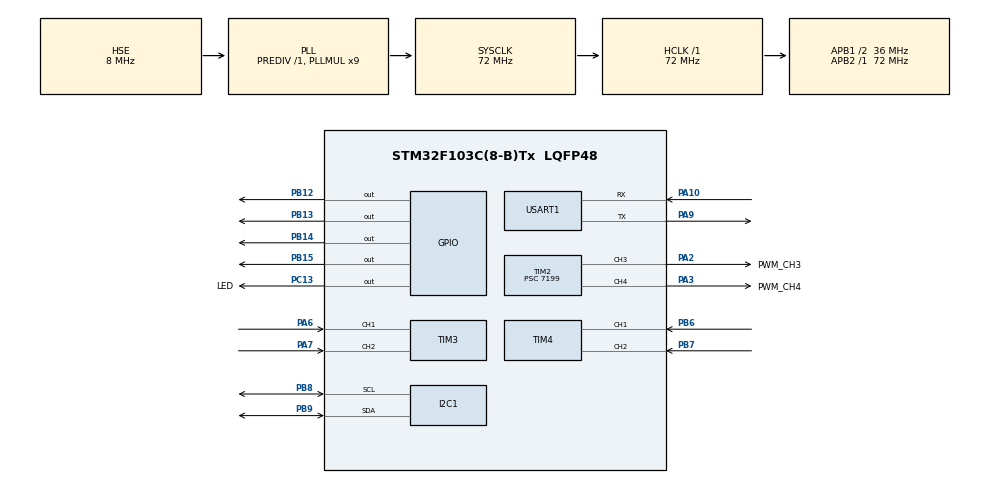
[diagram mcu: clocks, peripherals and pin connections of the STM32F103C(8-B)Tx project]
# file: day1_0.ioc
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Mcu.Family=STM32F1
Mcu.Name=STM32F103C(8-B)Tx
Mcu.Package=LQFP48
NVIC.I2C1_EV_IRQn=true\:0\:0\:false\:false\:true\:true\:true\:true
NVIC.PriorityGroup=NVIC_PRIORITYGROUP_4
NVIC.TIM2_IRQn=true\:0\:0\:false\:false\:true\:true\:true\:true
NVIC.USART1_IRQn=true\:0\:0\:false\:false\:true\:true\:true\:true
PA10.Mode=Asynchronous
PA10.Signal=USART1_RX
PA13.Mode=Serial_Wire
PA13.Signal=SYS_JTMS-SWDIO
PA14.Mode=Serial_Wire
PA14.Signal=SYS_JTCK-SWCLK
PA2.GPIO_Label=PWM_CH3
PA2.GPIO_Speed=GPIO_SPEED_FREQ_HIGH
PA2.Signal=S_TIM2_CH3
PA3.GPIO_Label=PWM_CH4
PA3.GPIO_ModeDefaultPP=GPIO_MODE_AF_PP
PA3.GPIO_Speed=GPIO_SPEED_FREQ_HIGH
PA3.Signal=S_TIM2_CH4
PA6.GPIO_PuPd=GPIO_NOPULL
PA6.Signal=S_TIM3_CH1
PA7.GPIO_PuPd=GPIO_NOPULL
PA7.Signal=S_TIM3_CH2
PA9.Mode=Asynchronous
PA9.Signal=USART1_TX
PB12.Signal=GPIO_Output
PB13.Signal=GPIO_Output
PB14.Signal=GPIO_Output
PB15.Signal=GPIO_Output
PB6.GPIO_PuPd=GPIO_NOPULL
PB6.Signal=S_TIM4_CH1
PB7.GPIO_PuPd=GPIO_NOPULL
PB7.Signal=S_TIM4_CH2
PB8.Mode=I2C
PB8.Signal=I2C1_SCL
PB9.Mode=I2C
PB9.Signal=I2C1_SDA
PC13-TAMPER-RTC.GPIO_Label=LED
PC13-TAMPER-RTC.Signal=GPIO_Output
PD0-OSC_IN.Mode=HSE-External-Oscillator
PD0-OSC_IN.Signal=RCC_OSC_IN
PD1-OSC_OUT.Mode=HSE-External-Oscillator
PD1-OSC_OUT.Signal=RCC_OSC_OUT
ProjectManager.HeapSize=0x200
ProjectManager.StackSize=0x400
ProjectManager.TargetToolchain=Makefile
RCC.AHBFreq_Value=72000000
RCC.APB1CLKDivider=RCC_HCLK_DIV2
RCC.APB1Freq_Value=36000000
RCC.APB1TimFreq_Value=72000000
RCC.APB2Freq_Value=72000000
RCC.APB2TimFreq_Value=72000000
RCC.EnbaleCSS=true
RCC.HCLKFreq_Value=72000000
RCC.PLLMUL=RCC_PLL_MUL9
RCC.PLLSourceVirtual=RCC_PLLSOURCE_HSE
RCC.SYSCLKFreq_VALUE=72000000
RCC.SYSCLKSource=RCC_SYSCLKSOURCE_PLLCLK
RCC.USBFreq_Value=72000000
SH.S_TIM2_CH3.0=TIM2_CH3,PWM Generation3 CH3
SH.S_TIM2_CH4.0=TIM2_CH4,PWM Generation4 CH4
SH.S_TIM3_CH1.0=TIM3_CH1,Encoder_Interface
SH.S_TIM3_CH2.0=TIM3_CH2,Encoder_Interface
SH.S_TIM4_CH1.0=TIM4_CH1,Encoder_Interface
SH.S_TIM4_CH2.0=TIM4_CH2,Encoder_Interface
TIM2.AutoReloadPreload=TIM_AUTORELOAD_PRELOAD_ENABLE
TIM2.Channel-PWM\ Generation3\ CH3=TIM_CHANNEL_3
TIM2.Channel-PWM\ Generation4\ CH4=TIM_CHANNEL_4
TIM2.CounterMode=TIM_COUNTERMODE_UP
TIM2.OCMode_PWM-PWM\ Generation3\ CH3=TIM_OCMODE_PWM1
TIM2.Period=4999
TIM2.Prescaler=7199
TIM2.Pulse-PWM\ Generation3\ CH3=2500
TIM2.Pulse-PWM\ Generation4\ CH4=2500
TIM2.TIM_MasterOutputTrigger=TIM_TRGO_RESET
TIM3.AutoReloadPreload=TIM_AUTORELOAD_PRELOAD_DISABLE
TIM3.EncoderMode=TIM_ENCODERMODE_TI12
TIM3.IC1Filter=6
TIM3.IC2Filter=6
TIM4.AutoReloadPreload=TIM_AUTORELOAD_PRELOAD_DISABLE
TIM4.EncoderMode=TIM_ENCODERMODE_TI12
TIM4.IC1Filter=6
TIM4.IC2Filter=6
USART1.VirtualMode=VM_ASYNC
VP_TIM2_VS_ClockSourceINT.Mode=Internal
board=custom

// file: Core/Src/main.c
/* USER CODE BEGIN Header */
/**
 ******************************************************************************
 * @file           : main.c
 * @brief          : Main program body
 ******************************************************************************
 * @attention
 *
 * Copyright (c) 2022 STMicroelectronics.
 * All rights reserved.
 *
 * This software is licensed under terms that can be found in the LICENSE file
 * in the root directory of this software component.
 * If no LICENSE file comes with this software, it is provided AS-IS.
 *
 ******************************************************************************
 */
/* USER CODE END Header */
#include "main.h"
#include "i2c.h"
#include "tim.h"
#include "usart.h"
#include "gpio.h"

/* USER CODE BEGIN Includes */
#include <string.h>
#include <stdio.h>
#include <stdlib.h>
#include "control.h"
/* USER CODE END Includes */

void SystemClock_Config(void);
/* USER CODE BEGIN PFP */

/**
  * @brief  1 forward 0 backward -1 stop
  * @param  l: left wheel
  * @param  r: right wheel
  * @retval None
  */
// void Car_Run(int l, int r)
// {
//   if (l == 1)
//   {
//     HAL_GPIO_WritePin(GPIOB, GPIO_PIN_12, GPIO_PIN_RESET);
//     HAL_GPIO_WritePin(GPIOB, GPIO_PIN_13, GPIO_PIN_SET);
//   }
//   else if (l == 0)
//   {
//     HAL_GPIO_WritePin(GPIOB, GPIO_PIN_12, GPIO_PIN_SET);
//     HAL_GPIO_WritePin(GPIOB, GPIO_PIN_13, GPIO_PIN_RESET);
//   }
//   else
//   {
//     HAL_GPIO_WritePin(GPIOB, GPIO_PIN_12, GPIO_PIN_RESET);
//     HAL_GPIO_WritePin(GPIOB, GPIO_PIN_13, GPIO_PIN_RESET);
//   }
//   if (r == 1)
//   {
//     HAL_GPIO_WritePin(GPIOB, GPIO_PIN_14, GPIO_PIN_SET);
//     HAL_GPIO_WritePin(GPIOB, GPIO_PIN_15, GPIO_PIN_RESET);
//   }
//   else if (r == 0)
//   {
//     HAL_GPIO_WritePin(GPIOB, GPIO_PIN_14, GPIO_PIN_RESET);
//     HAL_GPIO_WritePin(GPIOB, GPIO_PIN_15, GPIO_PIN_SET);
//   }
//   else
//   {
//     HAL_GPIO_WritePin(GPIOB, GPIO_PIN_14, GPIO_PIN_RESET);
//     HAL_GPIO_WritePin(GPIOB, GPIO_PIN_15, GPIO_PIN_RESET);
//   }
// }

void sendUart(char *str)
{
  uint8_t len = strlen(str);
  HAL_UART_Transmit(&huart1, (uint8_t *)str, len, 1000);
  memset(str, 0, len);
}
/* USER CODE END PFP */

/* USER CODE BEGIN 0 */

int fputc(int ch, FILE *f)
{
	HAL_UART_Transmit(&huart1, (uint8_t *)&ch, 1, 1000);
	return ch;
}
/* USER CODE END 0 */

int main(void)
{

  /* MCU Configuration--------------------------------------------------------*/

  /* Reset of all peripherals, Initializes the Flash interface and the Systick. */
  HAL_Init();

  /* Configure the system clock */
  SystemClock_Config();

  /* Initialize all configured peripherals */
  MX_GPIO_Init();
  MX_USART1_UART_Init();
  MX_TIM2_Init();
  MX_I2C1_Init();
  MX_TIM3_Init();
  MX_TIM4_Init();
  /* USER CODE BEGIN 2 */
  HAL_TIM_PWM_Start_IT(&htim2, TIM_CHANNEL_3);
  HAL_TIM_PWM_Start(&htim2, TIM_CHANNEL_4);
  HAL_TIM_Encoder_Start(&htim3,TIM_CHANNEL_1|TIM_CHANNEL_2);
  HAL_TIM_Encoder_Start(&htim4,TIM_CHANNEL_1|TIM_CHANNEL_2);

  const uint8_t DL = 32;
  const uint16_t TimeOut = 1000;
  uint8_t data[DL+1];
  memset(data,0,DL+1);
  MPU6050_Init(&hi2c1);
  // HAL_TIM_Base_Start_IT(&htim2);xxxxxxxxxxxxxxxxxxxxxxxxxxxxxxxxxxxxxx
  /* USER CODE END 2 */

  /* Infinite loop */
  /* USER CODE BEGIN WHILE */
  while (1)
  {

    // sprintf(data,"tt:%d\n",(int)g_fCarAngle);
    // sendUart(data);
    // sprintf(data,"Gx=%.2f,Gy=%.2f,Gz=%.2f\n",Gx,Gy,Gz);
    // sendUart(data);

    // sprintf(data,"speed: %d,direct:%d",__HAL_TIM_GET_COUNTER(&htim3),__HAL_TIM_IS_TIM_COUNTING_DOWN(&htim3));
    // sendUart(data);
    //HAL_Delay(1000);
    // memset(data, 0, DL);
    // while (!data[0])
    // {
    //   HAL_UART_Receive(&huart1, data, DL, TimeOut);
    // }

    // HAL_GPIO_TogglePin(GPIOC, LED_Pin);
  }
    /* USER CODE END WHILE */

}

void SystemClock_Config(void)
{
  RCC_OscInitTypeDef RCC_OscInitStruct = {0};
  RCC_ClkInitTypeDef RCC_ClkInitStruct = {0};

  /** Initializes the RCC Oscillators according to the specified parameters
  * in the RCC_OscInitTypeDef structure.
  */
  RCC_OscInitStruct.OscillatorType = RCC_OSCILLATORTYPE_HSE;
  RCC_OscInitStruct.HSEState = RCC_HSE_ON;
  RCC_OscInitStruct.HSEPredivValue = RCC_HSE_PREDIV_DIV1;
  RCC_OscInitStruct.HSIState = RCC_HSI_ON;
  RCC_OscInitStruct.PLL.PLLState = RCC_PLL_ON;
  RCC_OscInitStruct.PLL.PLLSource = RCC_PLLSOURCE_HSE;
  RCC_OscInitStruct.PLL.PLLMUL = RCC_PLL_MUL9;
  if (HAL_RCC_OscConfig(&RCC_OscInitStruct) != HAL_OK)
  {
    Error_Handler();
  }

  /** Initializes the CPU, AHB and APB buses clocks
  */
  RCC_ClkInitStruct.ClockType = RCC_CLOCKTYPE_HCLK|RCC_CLOCKTYPE_SYSCLK
                              |RCC_CLOCKTYPE_PCLK1|RCC_CLOCKTYPE_PCLK2;
  RCC_ClkInitStruct.SYSCLKSource = RCC_SYSCLKSOURCE_PLLCLK;
  RCC_ClkInitStruct.AHBCLKDivider = RCC_SYSCLK_DIV1;
  RCC_ClkInitStruct.APB1CLKDivider = RCC_HCLK_DIV2;
  RCC_ClkInitStruct.APB2CLKDivider = RCC_HCLK_DIV1;

  if (HAL_RCC_ClockConfig(&RCC_ClkInitStruct, FLASH_LATENCY_2) != HAL_OK)
  {
    Error_Handler();
  }

  /** Enables the Clock Security System`z
  */
  HAL_RCC_EnableCSS();
}

void Error_Handler(void)
{
  __disable_irq();
  while (1)
  {
  }
}
